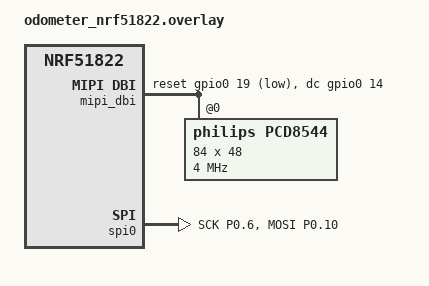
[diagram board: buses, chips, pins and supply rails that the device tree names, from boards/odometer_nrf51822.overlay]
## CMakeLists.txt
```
# SPDX-License-Identifier: Apache-2.0

cmake_minimum_required(VERSION 3.20.0)

find_package(Zephyr 4.2.0 REQUIRED HINTS $ENV{ZEPHYR_BASE})
project(pcd8544_sample_app)

target_sources(app PRIVATE src/main.c)
```

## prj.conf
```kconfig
CONFIG_DISPLAY=y
CONFIG_CHARACTER_FRAMEBUFFER=y
CONFIG_HEAP_MEM_POOL_SIZE=1024
CONFIG_GPIO=y
```

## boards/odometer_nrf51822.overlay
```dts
/* CLK 6, DIN 10, DC 14, RST 19, CE 20 */
&pinctrl {
	spi0_default: spi0_default {
		group1 {
			psels = <NRF_PSEL(SPIM_SCK, 0, 6)>,
				<NRF_PSEL(SPIM_MOSI, 0, 10)>;
		};
	};
};

/ {
	chosen {
		zephyr,display = &pcd8544;
	};

	mipi_dbi {
		compatible = "zephyr,mipi-dbi-spi";
		spi-dev = <&spi0>;
		dc-gpios = <&gpio0 14 GPIO_ACTIVE_HIGH>;
		reset-gpios = <&gpio0 19 GPIO_ACTIVE_LOW>;
		#address-cells = <1>;
		#size-cells = <0>;

		pcd8544: pcd8544@0 {
			compatible = "philips,pcd8544";
			reg = <0>;
			mipi-max-frequency = <4000000>;
			width = <84>;
			height = <48>;
			bias = <3>;
		};
	};
};

&spi0 {
	status = "okay";
	pinctrl-0 = <&spi0_default>;
	pinctrl-names = "default";
	cs-gpios = <&gpio0 20 GPIO_ACTIVE_LOW>;
};
```

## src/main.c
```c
#include <stdint.h>
#include <stdio.h>
#include <zephyr/kernel.h>
#include <zephyr/device.h>
#include <zephyr/display/cfb.h>
#include <zephyr/drivers/gpio.h>

#define BLINK_PERIOD_MS 1000
#define GREETING_DELAY_MS 4000
#define LABEL_DELAY_MS 2000
#define COUNT_STEP_DELAY_MS 10

static const struct gpio_dt_spec led0 = GPIO_DT_SPEC_GET(DT_ALIAS(led0), gpios);

int main(void)
{
	const struct device *dev = DEVICE_DT_GET(DT_CHOSEN(zephyr_display));

	if (!device_is_ready(dev)) {
		return 0;
	}

	uint8_t font_height;

	cfb_framebuffer_init(dev);

	/* MONO10 is white text on black; MONO01 is black on white */
	cfb_framebuffer_invert(dev);

	display_blanking_off(dev);

	cfb_framebuffer_clear(dev, true);
	cfb_get_font_size(dev, 0, NULL, &font_height);
	cfb_draw_text(dev, "hello", 0, 0);
	cfb_draw_text(dev, "world", 0, font_height);
	cfb_framebuffer_finalize(dev);
	k_msleep(GREETING_DELAY_MS);

	cfb_framebuffer_clear(dev, false);

	cfb_print(dev, "Hex", 0, 0);
	cfb_print(dev, "counter", 0, font_height);
	cfb_framebuffer_finalize(dev);
	k_msleep(LABEL_DELAY_MS);

	uint16_t count = 0;
	char buf[8];

	while (1) {
		snprintf(buf, sizeof(buf), "0x%04x", count);
		cfb_print(dev, buf, 0, 2 * font_height);
		cfb_framebuffer_finalize(dev);
		k_msleep(COUNT_STEP_DELAY_MS);
		if (count == UINT16_MAX) {
			break;
		}
		count++;
	}

	if (!gpio_is_ready_dt(&led0)) {
		return 0;
	}

	gpio_pin_configure_dt(&led0, GPIO_OUTPUT_INACTIVE);

	while (1) {
		gpio_pin_toggle_dt(&led0);
		k_msleep(BLINK_PERIOD_MS);
	}

	return 0;
}
```
